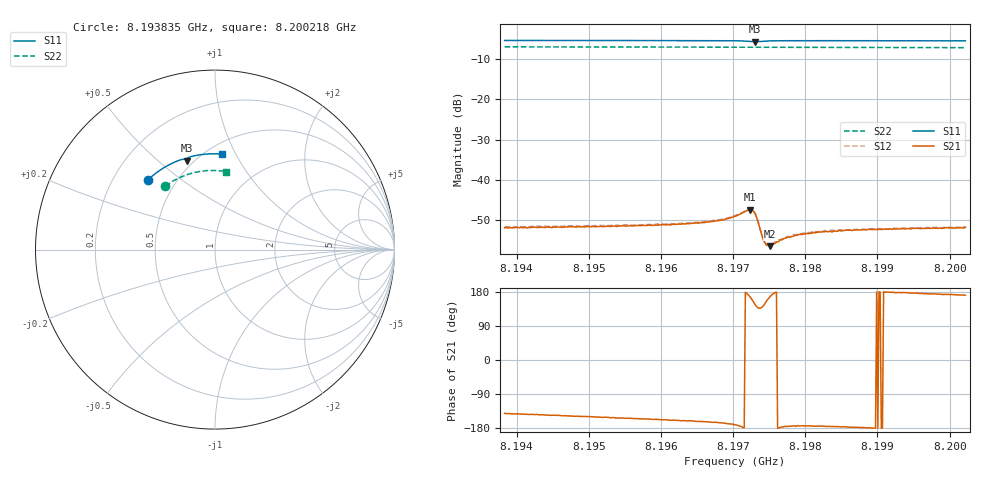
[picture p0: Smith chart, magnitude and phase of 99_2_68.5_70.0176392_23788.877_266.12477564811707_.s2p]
#  HZ  S  RI  R  50.00
! Rohde & Schwarz Vector Network Analyzer
! Rohde-Schwarz,ZNB20-2Port,1311601062101988,3.16
! Created: UTC 3/20/2024, 4:52:59 PM
! freq[Hz]  re:S11  im:S11  re:S21  im:S21  re:S12  im:S12  re:S22  im:S22
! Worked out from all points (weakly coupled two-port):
!   401 points, 8.193835 GHz to 8.200218 GHz, reference 50 ohm
!   highest |S21| = -47.34 dB at 8.197234 GHz (marker M1); lowest = -56.4 dB at 8.197505 GHz (marker M2)
!   lowest |S11| = -5.7 dB at 8.197298 GHz (marker M3), VSWR 3.16, Z = 23 + j31.2 ohm
!   |S11| at or under -10 dB: nowhere
!   |S22| runs from -7.2 to -6.9 dB; largest |S21 - S12| = 0.00024
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8.193835e9  -0.3721 0.3898  -0.00197 -0.0016  -0.0021 -0.00159  -0.2764 0.3542
8.1949041e9  -0.3135 0.4375  -0.00223 -0.00135  -0.00233 -0.00131  -0.2262 0.3864
8.1959732e9  -0.2482 0.4763  -0.00254 -0.00109  -0.00262 -0.000995  -0.1722 0.4115
8.1962126e9  -0.2331 0.4837  -0.00263 -0.000994  -0.00272 -0.000911  -0.1595 0.4163
8.1965796e9  -0.2084 0.4943  -0.00281 -0.00087  -0.00293 -0.000789  -0.14 0.4224
8.196803e9  -0.1926 0.4999  -0.00302 -0.000794  -0.00313 -0.000697  -0.1279 0.426
8.1970264e9  -0.1752 0.5044  -0.00349 -0.000577  -0.00357 -0.000433  -0.1156 0.4289
8.1972338e9  -0.1569 0.4999  -0.00418 0.000977  -0.0042 0.00118  -0.1042 0.4313
8.1972657e9  -0.1561 0.497  -0.00392 0.00157  -0.00392 0.0018  -0.1024 0.4315
8.1972977e9  -0.1574 0.4948  -0.00331 0.00205  -0.0033 0.00224  -0.1008 0.4318
8.1973296e9  -0.1601 0.4948  -0.00257 0.00214  -0.00253 0.00228  -0.0993 0.4323
8.1973934e9  -0.1621 0.5002  -0.00159 0.00143  -0.00157 0.00151  -0.0958 0.4331
8.1974253e9  -0.1608 0.5034  -0.00141 0.00102  -0.00142 0.0011  -0.0941 0.4333
8.1974572e9  -0.159 0.5059  -0.00141 0.000684  -0.00143 0.000787  -0.0923 0.4339
8.1975051e9  -0.1554 0.509  -0.00146 0.000385  -0.00151 0.000434  -0.0896 0.4342
8.1977444e9  -0.1367 0.5172  -0.00192 -0.00014  -0.00199 -9.96e-05  -0.0764 0.4365
8.1979359e9  -0.1226 0.5209  -0.0021 -0.000223  -0.00215 -0.000155  -0.0655 0.438
8.1980955e9  -0.111 0.5235  -0.00217 -0.000227  -0.00225 -0.000134  -0.0566 0.439
8.1983987e9  -0.0893 0.5274  -0.00231 -0.000179  -0.00234 -8.65e-05  -0.0394 0.4403
8.1985582e9  -0.0781 0.5291  -0.00237 -0.000143  -0.00241 -1.76e-05  -0.0305 0.4406
8.1991646e9  -0.0348 0.5331  -0.00248 5.83e-05  -0.00248 0.000162  0.00386 0.4405
8.2002178e9  0.0397 0.5316  -0.00255 0.000415  -0.00256 0.000499  0.0633 0.4341
